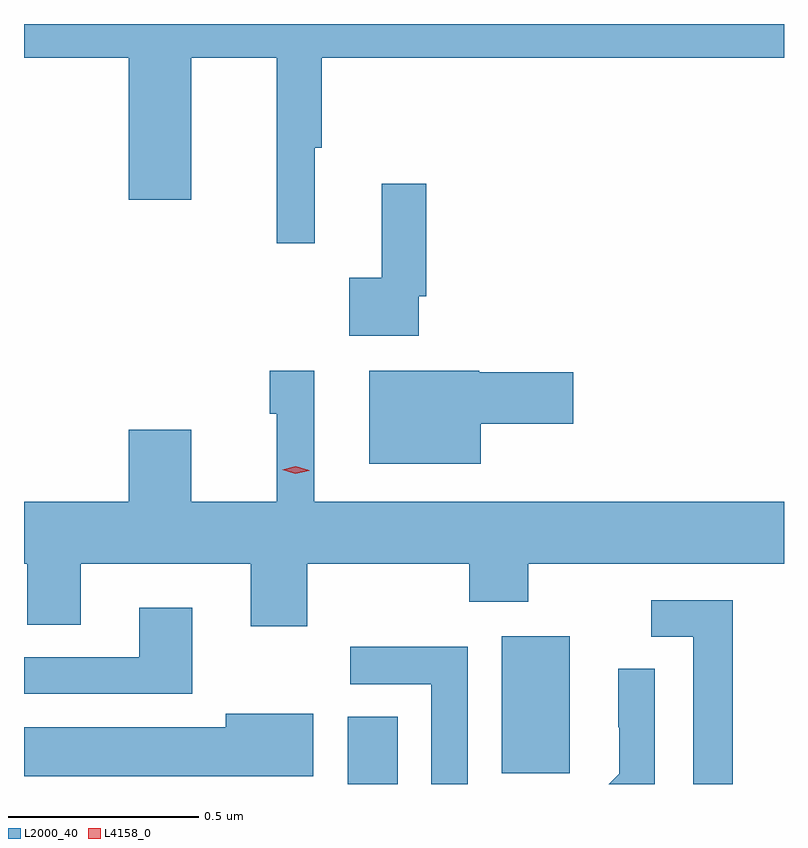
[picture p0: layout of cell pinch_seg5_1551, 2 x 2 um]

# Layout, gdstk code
import gdstk
lib = gdstk.Library(unit=1e-6, precision=1e-09)
def R(c, l, rs):  # rectangles x0, y0, x1, y1
    for r in rs: c.add(gdstk.rectangle(r[:2], r[2:], *l))
def P(c, l, *ps):  # polygons
    for p in ps: c.add(gdstk.Polygon(p, *l))
L2000_40 = (2000, 40)
L4158_0 = (4158, 0)

pinch_seg5_1551 = lib.new_cell('pinch_seg5_1551')
R(pinch_seg5_1551, L2000_40, [(201.548,842.861,201.679,843.038), (201.953,842.889,202.132,843.25)])
P(pinch_seg5_1551, L2000_40, [(201.461,844.536),(201.479,844.536),(201.479,844.772),(202.696,844.772),(202.696,844.861),(200.696,844.861),(200.696,844.772),(200.972,844.772),(200.972,844.398),(201.136,844.398),(201.136,844.772),(201.361,844.772),(201.361,844.284),(201.461,844.284)],
  [(201.735,844.144),(201.755,844.144),(201.755,844.441),(201.638,844.441),(201.638,844.193),(201.552,844.193),(201.552,844.04),(201.735,844.04)],
  [(201.441,843.44),(201.868,843.44),(201.868,843.341),(202.023,843.341),(202.023,843.44),(202.696,843.44),(202.696,843.604),(201.46,843.604),(201.46,843.949),(201.343,843.949),(201.343,843.836),(201.361,843.836),(201.361,843.604),(201.136,843.604),(201.136,843.793),(200.972,843.793),(200.972,843.604),(200.696,843.604),(200.696,843.44),(200.705,843.44),(200.705,843.28),(200.845,843.28),(200.845,843.44),(201.293,843.44),(201.293,843.276),(201.441,843.276)],
  [(201.898,843.809),(202.141,843.809),(202.141,843.944),(201.894,843.944),(201.894,843.949),(201.605,843.949),(201.605,843.704),(201.898,843.704)],
  [(202.561,843.345),(202.347,843.345),(202.347,843.249),(202.457,843.249),(202.457,842.861),(202.561,842.861)],
  [(201.139,843.325),(200.999,843.325),(200.999,843.195),(200.696,843.195),(200.696,843.099),(201.139,843.099)],
  [(201.864,843.222),(201.555,843.222),(201.555,843.123),(201.768,843.123),(201.768,842.861),(201.864,842.861)],
  [(202.356,843.164),(202.26,843.164),(202.26,843.01),(202.262,843.01),(202.262,842.888),(202.235,842.861),(202.356,842.861)],
  [(201.457,843.046),(201.227,843.046),(201.227,843.01),(200.696,843.01),(200.696,842.882),(201.457,842.882)])
P(pinch_seg5_1551, L4158_0, [(201.41,843.677),(201.375,843.688),(201.374,843.688),(201.375,843.688),(201.411,843.697),(201.446,843.687),(201.446,843.687),(201.446,843.686)])

lib.write_gds('pinch_seg5_1551.gds')
